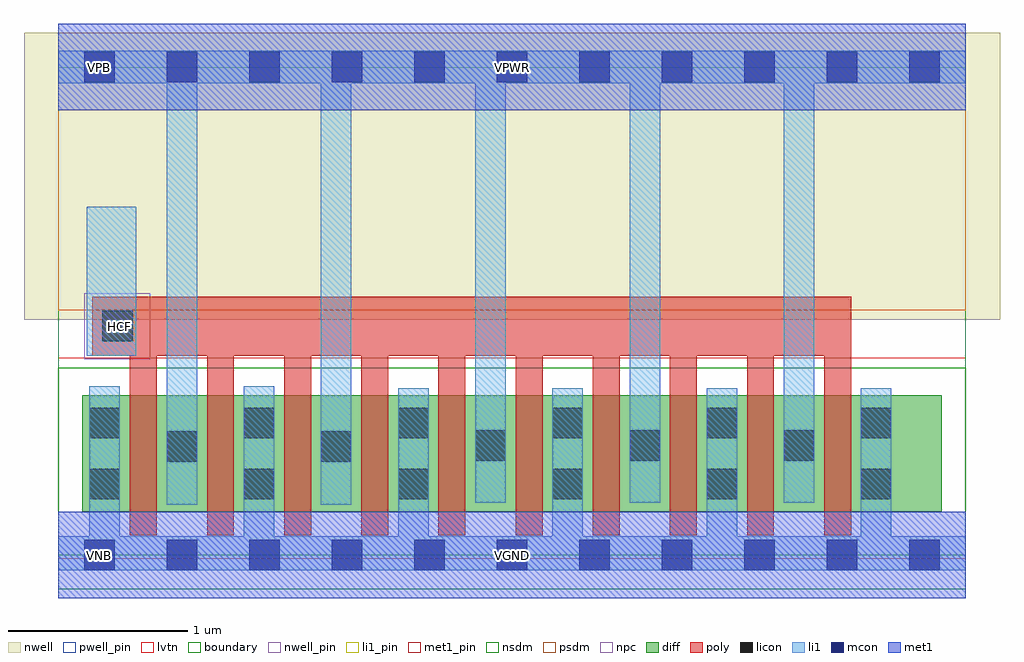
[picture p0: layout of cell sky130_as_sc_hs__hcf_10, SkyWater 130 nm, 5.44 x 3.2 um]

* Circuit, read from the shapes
.subckt sky130_as_sc_hs__hcf_10 HCF VGND VNB VPB VPWR
XM1 VPWR HCF VGND VNB sky130_fd_pr__nfet_01v8_lvt w=0.65 l=0.15 m=10
.ends

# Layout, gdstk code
import gdstk
lib = gdstk.Library(unit=1e-6, precision=1e-09)
def R(c, l, rs):  # rectangles x0, y0, x1, y1
    for r in rs: c.add(gdstk.rectangle(r[:2], r[2:], *l))
def A(c, l, x, y, w, h, nx, ny, dx, dy):  # array of equal rectangles
    R(c, l, [(x+i*dx, y+j*dy, x+i*dx+w, y+j*dy+h) for i in range(nx) for j in range(ny)])
nwell_pin = (64, 16)
nwell = (64, 20)
diff = (65, 20)
poly = (66, 20)
licon = (66, 44)
li1_pin = (67, 16)
li1 = (67, 20)
mcon = (67, 44)
met1_pin = (68, 16)
met1 = (68, 20)
nsdm = (93, 44)
psdm = (94, 20)
npc = (95, 20)
pwell_pin = (122, 16)
lvtn = (125, 44)
boundary = (235, 4)

sky130_as_sc_hs__hcf_10 = lib.new_cell('sky130_as_sc_hs__hcf_10')
R(sky130_as_sc_hs__hcf_10, nwell_pin, [(0.145,2.635,0.315,2.805)])
R(sky130_as_sc_hs__hcf_10, nwell, [(-0.19,1.31,5.25,2.91)])
R(sky130_as_sc_hs__hcf_10, diff, [(0.135,0.24,4.925,0.89)])
A(sky130_as_sc_hs__hcf_10, poly, 0.4, 0.11, 0.15, 1, 10, 1, 0.43, 0)
R(sky130_as_sc_hs__hcf_10, poly, [(0.19,1.11,4.42,1.44)])
A(sky130_as_sc_hs__hcf_10, licon, 0.175, 0.31, 0.17, 0.17, 6, 2, 0.86, 0.34)
A(sky130_as_sc_hs__hcf_10, licon, 2.325, 0.525, 0.17, 0.17, 3, 1, 0.86, 0)
R(sky130_as_sc_hs__hcf_10, licon, [(0.605,0.52,0.775,0.69), (1.465,0.52,1.635,0.69), (0.245,1.19,0.415,1.36)])
R(sky130_as_sc_hs__hcf_10, li1_pin, [(0.255,1.19,0.425,1.36)])
A(sky130_as_sc_hs__hcf_10, li1, 1.895, 0.105, 0.17, 0.825, 4, 1, 0.86, 0)
A(sky130_as_sc_hs__hcf_10, li1, 2.325, 0.29, 0.17, 2.34, 3, 1, 0.86, 0)
R(sky130_as_sc_hs__hcf_10, li1, [(0,-0.085,5.06,0.105), (0.175,0.105,0.345,0.94), (1.035,0.105,1.205,0.94), (0.605,0.28,0.775,2.63), (1.465,0.28,1.635,2.63), (0.16,1.11,0.435,1.94), (0,2.63,5.06,2.81)])
A(sky130_as_sc_hs__hcf_10, mcon, 0.145, -0.085, 0.17, 0.17, 11, 2, 0.46, 2.72)
R(sky130_as_sc_hs__hcf_10, met1_pin, [(0,-0.24,5.06,0.24), (0.145,-0.085,0.315,0.085), (0,2.48,5.06,2.96), (0.145,2.635,0.315,2.805)])
R(sky130_as_sc_hs__hcf_10, met1, [(0,-0.24,5.06,0.24), (0,2.48,5.06,2.96)])
R(sky130_as_sc_hs__hcf_10, nsdm, [(0,-0.19,5.06,1.045)])
R(sky130_as_sc_hs__hcf_10, psdm, [(0,1.365,5.06,2.91)])
R(sky130_as_sc_hs__hcf_10, npc, [(0.145,1.09,0.515,1.46)])
R(sky130_as_sc_hs__hcf_10, pwell_pin, [(0.145,-0.085,0.315,0.085)])
R(sky130_as_sc_hs__hcf_10, lvtn, [(0,-0.02,5.06,1.1)])
R(sky130_as_sc_hs__hcf_10, boundary, [(0,0,5.06,2.72)])
sky130_as_sc_hs__hcf_10.add(gdstk.Label('VNB', (0.23,0), layer=64, texttype=59))
sky130_as_sc_hs__hcf_10.add(gdstk.Label('VPB', (0.23,2.72), layer=64, texttype=5))
sky130_as_sc_hs__hcf_10.add(gdstk.Label('HCF', (0.34,1.275), layer=67, texttype=5))
sky130_as_sc_hs__hcf_10.add(gdstk.Label('VNB', (0.23,0), layer=64, texttype=59))
sky130_as_sc_hs__hcf_10.add(gdstk.Label('VPB', (0.23,2.72), layer=64, texttype=5))
sky130_as_sc_hs__hcf_10.add(gdstk.Label('VPWR', (2.53,2.72), layer=68, texttype=5))
sky130_as_sc_hs__hcf_10.add(gdstk.Label('VPWR', (0.23,2.72), layer=68, texttype=5))
sky130_as_sc_hs__hcf_10.add(gdstk.Label('VGND', (2.53,0), layer=68, texttype=5))
sky130_as_sc_hs__hcf_10.add(gdstk.Label('VGND', (0.23,0), layer=68, texttype=5))
sky130_as_sc_hs__hcf_10.add(gdstk.Label('HCF', (0.34,1.275), layer=67, texttype=5))

lib.write_gds('sky130_as_sc_hs__hcf_10.gds')
